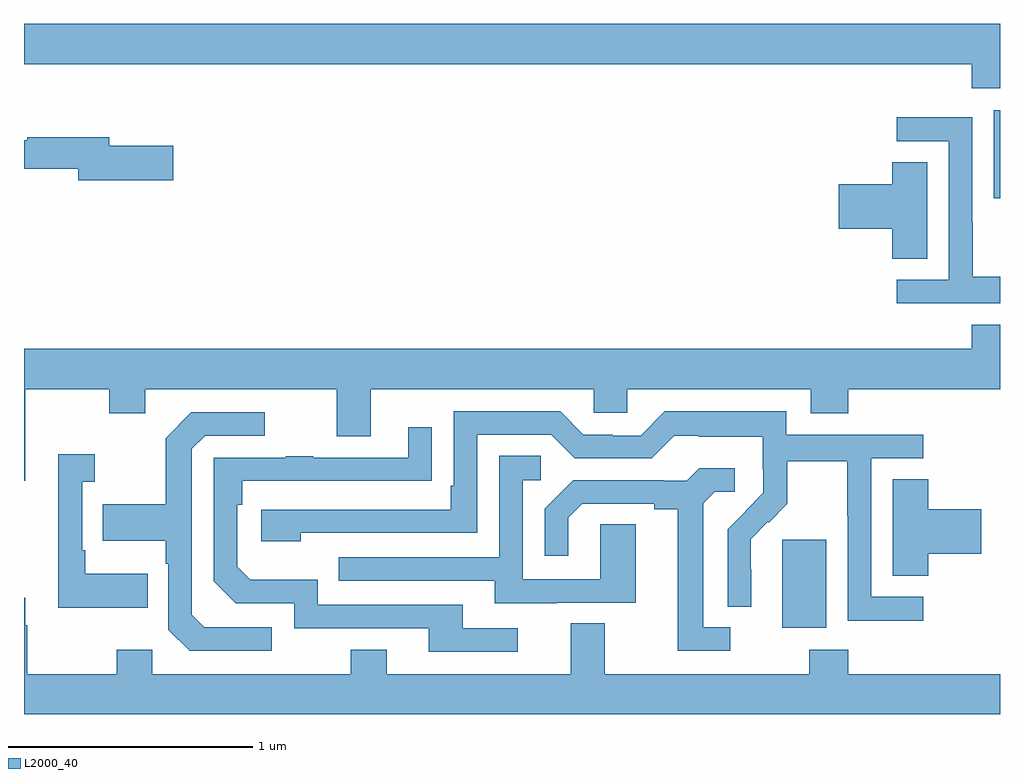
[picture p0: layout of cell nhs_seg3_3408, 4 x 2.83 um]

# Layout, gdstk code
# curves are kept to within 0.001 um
import gdstk
lib = gdstk.Library(unit=1e-6, precision=1e-09)
def R(c, l, rs):  # rectangles x0, y0, x1, y1
    for r in rs: c.add(gdstk.rectangle(r[:2], r[2:], *l))
def P(c, l, *ps):  # polygons
    for p in ps: c.add(gdstk.Polygon(p, *l))
L2000_40 = (2000, 40)

nhs_seg3_3408 = lib.new_cell('nhs_seg3_3408')
R(nhs_seg3_3408, L2000_40, [(290.108,739.898,290.287,740.259), (290.975,741.657,291,742.018)])
P(nhs_seg3_3408, L2000_40, [(291,742.372),(287,742.372),(287,742.208),(290.885,742.208),(290.885,742.109),(291,742.109)],
  [(291,741.337),(290.889,741.337),(290.889,741.56),(290.886,741.56),(290.886,741.99),(290.577,741.99),(290.577,741.891),(290.79,741.891),(290.79,741.324),(290.577,741.324),(290.577,741.228),(291,741.228)],
  [(287.611,741.873),(287.35,741.873),(287.35,741.907),(287.014,741.907),(287.014,741.896),(287,741.896),(287,741.778),(287.222,741.778),(287.222,741.731),(287.611,741.731)],
  [(290.701,741.806),(290.558,741.806),(290.558,741.716),(290.34,741.716),(290.34,741.533),(290.558,741.533),(290.558,741.409),(290.701,741.409)],
  [(287.005,740.876),(287.35,740.876),(287.35,740.777),(287.497,740.777),(287.497,740.876),(288.281,740.876),(288.281,740.682),(288.421,740.682),(288.421,740.876),(289.335,740.876),(289.335,740.778),(289.473,740.778),(289.473,740.876),(290.225,740.876),(290.225,740.777),(290.378,740.777),(290.378,740.876),(291,740.876),(291,741.139),(290.885,741.139),(290.885,741.04),(287,741.04),(287,740.499),(287.005,740.499)],
  [(290.686,740.025),(290.472,740.025),(290.472,740.592),(290.686,740.592),(290.686,740.688),(290.124,740.688),(290.124,740.785),(289.627,740.785),(289.527,740.685),(289.412,740.685),(289.412,740.688),(289.293,740.688),(289.197,740.784),(288.762,740.784),(288.762,740.479),(288.749,740.479),(288.749,740.382),(287.973,740.382),(287.973,740.252),(288.134,740.252),(288.134,740.286),(288.858,740.286),(288.858,740.688),(289.161,740.688),(289.257,740.592),(289.572,740.592),(289.665,740.685),(289.765,740.685),(289.765,740.681),(290.028,740.681),(290.028,740.547),(290.03,740.547),(290.03,740.45),(289.884,740.302),(289.884,739.984),(289.98,739.984),(289.979,740.261),(290.049,740.331),(290.052,740.328),(290.129,740.405),(290.129,740.58),(290.374,740.58),(290.374,740.356),(290.376,740.356),(290.376,739.927),(290.686,739.927)],
  [(288.016,739.899),(287.739,739.899),(287.688,739.95),(287.688,740.631),(287.742,740.685),(287.986,740.685),(287.986,740.781),(287.685,740.781),(287.58,740.675),(287.58,740.403),(287.323,740.403),(287.323,740.255),(287.58,740.255),(287.58,740.159),(287.592,740.159),(287.592,739.89),(287.679,739.803),(288.016,739.803)],
  [(289.024,739.896),(288.799,739.896),(288.799,739.992),(288.204,739.992),(288.204,740.095),(287.927,740.095),(287.874,740.148),(287.874,740.402),(287.894,740.402),(287.894,740.499),(288.671,740.5),(288.671,740.719),(288.575,740.719),(288.575,740.595),(288.185,740.595),(288.185,740.6),(288.073,740.6),(288.073,740.595),(287.778,740.595),(287.778,740.088),(287.868,739.998),(288.108,739.998),(288.108,739.896),(288.659,739.896),(288.659,739.8),(289.024,739.8)],
  [(287.507,740.119),(287.251,740.119),(287.251,740.215),(287.238,740.215),(287.238,740.495),(287.29,740.495),(287.29,740.608),(287.141,740.608),(287.141,739.979),(287.507,739.979)],
  [(289.183,740.001),(289.507,740.001),(289.507,740.321),(289.362,740.321),(289.362,740.097),(289.044,740.097),(289.044,740.502),(289.117,740.502),(289.117,740.603),(288.948,740.603),(288.948,740.187),(288.289,740.187),(288.289,740.091),(288.929,740.091),(288.929,739.997),(289.183,739.997)],
  [(289.894,739.899),(289.783,739.899),(289.783,740.407),(289.83,740.454),(289.912,740.454),(289.912,740.551),(289.768,740.551),(289.716,740.499),(289.622,740.499),(289.622,740.502),(289.25,740.502),(289.134,740.386),(289.134,740.193),(289.231,740.193),(289.231,740.349),(289.288,740.406),(289.583,740.406),(289.583,740.384),(289.679,740.384),(289.679,739.803),(289.894,739.803)],
  [(290.705,740.201),(290.923,740.201),(290.923,740.384),(290.705,740.384),(290.705,740.507),(290.561,740.507),(290.561,740.11),(290.705,740.11)],
  [(291,739.708),(290.378,739.708),(290.378,739.807),(290.218,739.807),(290.218,739.708),(289.381,739.708),(289.381,739.916),(289.241,739.916),(289.241,739.708),(288.487,739.708),(288.487,739.807),(288.34,739.807),(288.34,739.708),(287.526,739.708),(287.526,739.807),(287.38,739.807),(287.38,739.708),(287.013,739.708),(287.013,739.907),(287.005,739.907),(287.005,740.02),(287,740.02),(287,739.544),(291,739.544)])

lib.write_gds('nhs_seg3_3408.gds')
